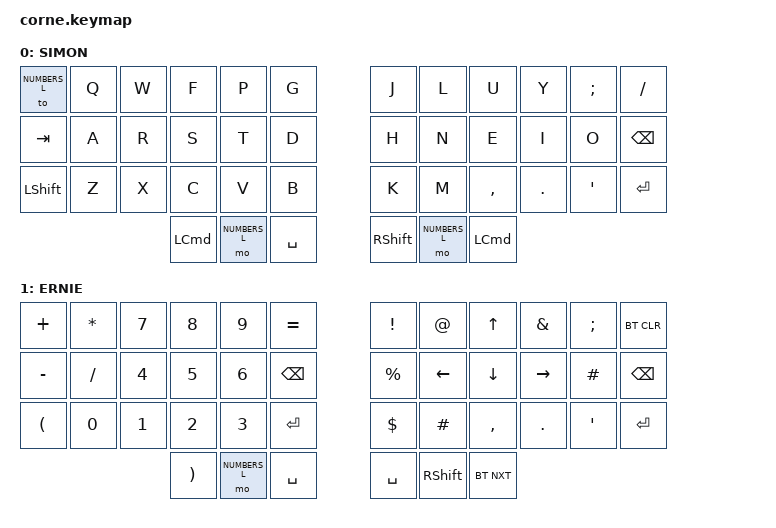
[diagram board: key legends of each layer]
/*
 * Copyright (c) 2020 The ZMK Contributors
 *
 * SPDX-License-Identifier: MIT
 */

#include <behaviors.dtsi>
#include <dt-bindings/zmk/keys.h>
#include <dt-bindings/zmk/bt.h>

#define DEFAULT_L 0
#define NUMBERS_L 1


/ {

	behaviors {
        hm: homerow_mods {
            compatible = "zmk,behavior-hold-tap";
            label = "HOMEROW_MODS";
            #binding-cells = <2>;
            tapping-term-ms = <300>;
            quick-tap-ms = <200>;
            flavor = "tap-preferred";
            bindings = <&kp>, <&kp>;
        };

        td0: tap_dance_0 {
            compatible = "zmk,behavior-tap-dance";
            label = "TAP_DANCE_0";
            #binding-cells = <0>;
            tapping-term-ms = <200>;
            bindings = <&kp N1>, <&kp N2>, <&kp N3>;
        };
    };
        keymap {
                compatible = "zmk,keymap";

                default_layer {
			label = "SIMON";
                        bindings = <
   &to NUMBERS_L &kp Q &kp W     &kp F       &kp P      &kp G         &kp J   &kp L       &kp U        &kp Y         &kp SEMI        &kp FSLH
   &kp TAB       &kp A &kp R     &kp S       &kp T      &kp D         &kp H   &kp N       &kp E        &kp I         &kp O           &kp BSPC
   &kp LSHFT     &kp Z &kp X     &kp C       &kp V      &kp B         &kp K   &kp M       &kp COMMA    &kp DOT       &kp APOSTROPHE  &kp RET
                 &kp LCMD     &mo NUMBERS_L    &kp SPACE              &kp RSHFT       &mo NUMBERS_L         &kp LCMD
                        >;
                };

                numbers_layer {
			label = "ERNIE";
                        bindings = <
   &kp PLUS   &kp STAR    &kp N7  &kp N8  &kp N9 &kp EQUAL         &kp EXCL   &kp AT    &kp UP   &kp AMPS  &kp SEMI        &bt BT_CLR
   &kp MINUS  &kp FSLH    &kp N4  &kp N5  &kp N6 &kp BSPC          &kp PRCNT  &kp LEFT  &kp DOWN &kp RIGHT &kp HASH        &kp BSPC
   &kp LPAR   &kp N0      &kp N1  &kp N2  &kp N3 &kp RET           &kp DLLR   &kp HASH  &kp COMMA  &kp DOT &kp APOSTROPHE  &kp RET
                    	    &kp RPAR &mo NUMBERS_L   &kp SPACE         &kp SPACE &kp RSHFT  &bt BT_NXT
                        >;
                };
        };
};
